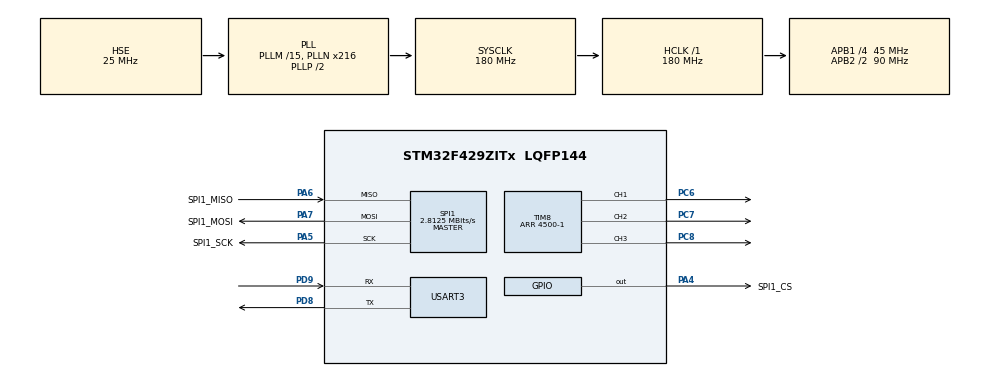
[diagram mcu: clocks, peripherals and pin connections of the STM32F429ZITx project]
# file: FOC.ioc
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FREERTOS.Tasks01=Task_Read_Encod,0,128,Run_Task_Read_Encoder,Default,NULL,Dynamic,NULL,NULL;Task_PWM,0,512,Run_Task_PWM,Default,NULL,Dynamic,NULL,NULL
FREERTOS.configUSE_NEWLIB_REENTRANT=1
Mcu.Family=STM32F4
Mcu.Name=STM32F429ZITx
Mcu.Package=LQFP144
NVIC.PriorityGroup=NVIC_PRIORITYGROUP_4
NVIC.TIM4_IRQn=true\:15\:0\:false\:false\:true\:false\:false\:true\:true
NVIC.TIM7_IRQn=true\:5\:0\:false\:true\:true\:1\:true\:true\:true\:true
NVIC.TimeBase=TIM4_IRQn
NVIC.TimeBaseIP=TIM4
NVIC.USART3_IRQn=true\:5\:0\:false\:false\:true\:true\:true\:true\:true
PA13.Mode=Serial_Wire
PA13.Signal=SYS_JTMS-SWDIO
PA14.Mode=Serial_Wire
PA14.Signal=SYS_JTCK-SWCLK
PA4.GPIO_Label=SPI1_CS
PA4.Signal=GPIO_Output
PA5.GPIO_Label=SPI1_SCK
PA5.Mode=Full_Duplex_Master
PA5.Signal=SPI1_SCK
PA6.GPIO_Label=SPI1_MISO
PA6.Mode=Full_Duplex_Master
PA6.Signal=SPI1_MISO
PA7.GPIO_Label=SPI1_MOSI
PA7.Mode=Full_Duplex_Master
PA7.Signal=SPI1_MOSI
PC14/OSC32_IN.Mode=LSE-External-Oscillator
PC14/OSC32_IN.Signal=RCC_OSC32_IN
PC15/OSC32_OUT.Mode=LSE-External-Oscillator
PC15/OSC32_OUT.Signal=RCC_OSC32_OUT
PC6.Signal=S_TIM8_CH1
PC7.Signal=S_TIM8_CH2
PC8.Signal=S_TIM8_CH3
PD8.Mode=Asynchronous
PD8.Signal=USART3_TX
PD9.Mode=Asynchronous
PD9.Signal=USART3_RX
PH0/OSC_IN.Mode=HSE-External-Clock-Source
PH0/OSC_IN.Signal=RCC_OSC_IN
PH1/OSC_OUT.Mode=HSE-External-Clock-Source
PH1/OSC_OUT.Signal=RCC_OSC_OUT
ProjectManager.HeapSize=0x200
ProjectManager.StackSize=0x400
ProjectManager.TargetToolchain=STM32CubeIDE
RCC.48MHZClocksFreq_Value=51428571.428571425
RCC.AHBFreq_Value=180000000
RCC.APB1CLKDivider=RCC_HCLK_DIV4
RCC.APB1Freq_Value=45000000
RCC.APB1TimFreq_Value=90000000
RCC.APB2CLKDivider=RCC_HCLK_DIV2
RCC.APB2Freq_Value=90000000
RCC.APB2TimFreq_Value=180000000
RCC.CortexFreq_Value=180000000
RCC.HCLKFreq_Value=180000000
RCC.HSE_VALUE=25000000
RCC.HSI_VALUE=16000000
RCC.PLLM=15
RCC.PLLMUL=RCC_PLL_MUL9
RCC.PLLN=216
RCC.PLLQ=7
RCC.PLLSourceVirtual=RCC_PLLSOURCE_HSE
RCC.PRESCALERUSB=RCC_USBCLKSOURCE_PLL_DIV1_5
RCC.SYSCLKFreq_VALUE=180000000
RCC.SYSCLKSource=RCC_SYSCLKSOURCE_PLLCLK
RCC.SYSCLKSourceVirtual=RCC_SYSCLKSOURCE_PLLCLK
RCC.USBFreq_Value=48000000
RCC.VCOOutputFreq_Value=360000000
SH.S_TIM8_CH1.0=TIM8_CH1,PWM Generation1 CH1
SH.S_TIM8_CH2.0=TIM8_CH2,PWM Generation2 CH2
SH.S_TIM8_CH3.0=TIM8_CH3,PWM Generation3 CH3
SPI1.BaudRatePrescaler=SPI_BAUDRATEPRESCALER_32
SPI1.CLKPhase=SPI_PHASE_2EDGE
SPI1.CalculateBaudRate=2.8125 MBits/s
SPI1.DataSize=SPI_DATASIZE_16BIT
SPI1.Direction=SPI_DIRECTION_2LINES
SPI1.Mode=SPI_MODE_MASTER
SPI1.VirtualType=VM_MASTER
TIM7.AutoReloadPreload=TIM_AUTORELOAD_PRELOAD_ENABLE
TIM7.Period=9000-1
TIM7.TIM_MasterOutputTrigger=TIM_TRGO_UPDATE
TIM8.AutoReloadPreload=TIM_AUTORELOAD_PRELOAD_ENABLE
TIM8.AutomaticOutput=TIM_AUTOMATICOUTPUT_DISABLE
TIM8.BreakState=TIM_BREAK_DISABLE
TIM8.Channel-PWM\ Generation1\ CH1=TIM_CHANNEL_1
TIM8.Channel-PWM\ Generation2\ CH2=TIM_CHANNEL_2
TIM8.Channel-PWM\ Generation3\ CH3=TIM_CHANNEL_3
TIM8.CounterMode=TIM_COUNTERMODE_CENTERALIGNED1
TIM8.LockLevel=TIM_LOCKLEVEL_OFF
TIM8.OffStateIDLEMode=TIM_OSSI_ENABLE
TIM8.OffStateRunMode=TIM_OSSR_ENABLE
TIM8.Period=4500-1
TIM8.RepetitionCounter=1
TIM8.TIM_MasterOutputTrigger=TIM_TRGO_UPDATE
TIM8.TIM_MasterSlaveMode=TIM_MASTERSLAVEMODE_DISABLE
USART3.VirtualMode=VM_ASYNC
VP_FREERTOS_VS_CMSIS_V1.Mode=CMSIS_V1
VP_SYS_VS_tim4.Mode=TIM4
VP_TIM7_VS_ClockSourceINT.Mode=Enable_Timer
VP_TIM8_VS_ClockSourceINT.Mode=Internal
board=NUCLEO-F429ZI

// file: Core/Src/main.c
/* USER CODE BEGIN Header */
/**
 ******************************************************************************
 * @file           : main.c
 * @brief          : Main program body
 ******************************************************************************
 * @attention
 *
 * Copyright (c) 2025 STMicroelectronics.
 * All rights reserved.
 *
 * This software is licensed under terms that can be found in the LICENSE file
 * in the root directory of this software component.
 * If no LICENSE file comes with this software, it is provided AS-IS.
 *
 ******************************************************************************
 */
/* USER CODE END Header */
#include "main.h"
#include "cmsis_os.h"

/* USER CODE BEGIN Includes */
#include "encoder.h"
#include "stdint.h"
#include "math.h"
#include "FOC.h"
/* USER CODE END Includes */

/* USER CODE BEGIN PTD */
#define PWM_PERIOD	9600U
#define PWM_CENTER	(PWM_PERIOD/2)
/* USER CODE END PTD */

SPI_HandleTypeDef hspi1;

TIM_HandleTypeDef htim7;
TIM_HandleTypeDef htim8;

UART_HandleTypeDef huart3;

osThreadId Task_Read_EncodHandle;
osThreadId Task_PWMHandle;
/* USER CODE BEGIN PV */
volatile float electrical_angle = 0.0f;   // rad, 0 ~ 2π
volatile float mechanical_angle = 0.0f;   // rad, tích lũy
volatile float velocity_rps = 0.0f;   // rad/s cơ khí
volatile int32_t total_degrees = 0;

float target_current_d = 0.0f;
float target_current_q = 2.0f;   // Ví dụ: điều khiển dòng q = 2A → torque
float Vd = 0.0f, Vq = 0.0f;
float Va, Vb, Vc;
float hsin;
float hcos;
uint16_t pulse = 2250;
/* USER CODE END PV */

void SystemClock_Config(void);
static void MX_GPIO_Init(void);
static void MX_USART3_UART_Init(void);
static void MX_SPI1_Init(void);
static void MX_TIM7_Init(void);
static void MX_TIM8_Init(void);
void Run_Task_Read_Encoder(void const *argument);
void Run_Task_PWM(void const *argument);

static void MX_NVIC_Init(void);

/* USER CODE BEGIN 0 */
void init() {
	encoder_init(&encoder_value, &as5048a, SPI1_CS_Pin, SPI1_CS_GPIO_Port,
			&hspi1);
	HAL_TIM_PWM_Start(&htim8, TIM_CHANNEL_1);
	HAL_TIMEx_PWMN_Start(&htim8, TIM_CHANNEL_1);
	HAL_TIM_PWM_Start(&htim8, TIM_CHANNEL_2);
	HAL_TIMEx_PWMN_Start(&htim8, TIM_CHANNEL_2);
	HAL_TIM_PWM_Start(&htim8, TIM_CHANNEL_3);
	HAL_TIMEx_PWMN_Start(&htim8, TIM_CHANNEL_3);
	HAL_TIM_Base_Start(&htim8);
//	HAL_TIM_Base_Start_IT(&htim7);  // <<< Quan trọng: bật ngắt mỗi chu kỳ PWM

//	__HAL_TIM_MOE_ENABLE(&htim8);
	TIM8->CCR1 = pulse / 2;
	TIM8->CCR2 = pulse / 3;
	TIM8->CCR3 = pulse / 4;
//	__HAL_TIM_ENABLE_IT(&htim1, TIM_IT_UPDATE); // Đảm bảo IT Update được enable
}
/* USER CODE END 0 */

int main(void) {

	/* MCU Configuration--------------------------------------------------------*/

	/* Reset of all peripherals, Initializes the Flash interface and the Systick. */
	HAL_Init();

	/* Configure the system clock */
	SystemClock_Config();

	/* Initialize all configured peripherals */
	MX_GPIO_Init();
	MX_USART3_UART_Init();
	MX_SPI1_Init();
	MX_TIM7_Init();
	MX_TIM8_Init();

	/* Initialize interrupts */
	MX_NVIC_Init();
	/* USER CODE BEGIN 2 */
	init();
	/* USER CODE END 2 */

	/* Create the thread(s) */
	/* definition and creation of Task_Read_Encod */
	osThreadDef(Task_Read_Encod, Run_Task_Read_Encoder, osPriorityNormal, 0,
			128);
	Task_Read_EncodHandle = osThreadCreate(osThread(Task_Read_Encod), NULL);

	/* definition and creation of Task_PWM */
	osThreadDef(Task_PWM, Run_Task_PWM, osPriorityNormal, 0, 512);
	Task_PWMHandle = osThreadCreate(osThread(Task_PWM), NULL);

	/* Start scheduler */
	osKernelStart();

	/* We should never get here as control is now taken by the scheduler */

	/* Infinite loop */
	while (1) {

	}
}

void SystemClock_Config(void) {
	RCC_OscInitTypeDef RCC_OscInitStruct = { 0 };
	RCC_ClkInitTypeDef RCC_ClkInitStruct = { 0 };

	/** Configure the main internal regulator output voltage
	 */
	__HAL_RCC_PWR_CLK_ENABLE();
	__HAL_PWR_VOLTAGESCALING_CONFIG(PWR_REGULATOR_VOLTAGE_SCALE1);

	/** Initializes the RCC Oscillators according to the specified parameters
	 * in the RCC_OscInitTypeDef structure.
	 */
	RCC_OscInitStruct.OscillatorType = RCC_OSCILLATORTYPE_HSE;
	RCC_OscInitStruct.HSEState = RCC_HSE_BYPASS;
	RCC_OscInitStruct.PLL.PLLState = RCC_PLL_ON;
	RCC_OscInitStruct.PLL.PLLSource = RCC_PLLSOURCE_HSE;
	RCC_OscInitStruct.PLL.PLLM = 15;
	RCC_OscInitStruct.PLL.PLLN = 216;
	RCC_OscInitStruct.PLL.PLLP = RCC_PLLP_DIV2;
	RCC_OscInitStruct.PLL.PLLQ = 7;
	if (HAL_RCC_OscConfig(&RCC_OscInitStruct) != HAL_OK) {
		Error_Handler();
	}

	/** Activate the Over-Drive mode
	 */
	if (HAL_PWREx_EnableOverDrive() != HAL_OK) {
		Error_Handler();
	}

	/** Initializes the CPU, AHB and APB buses clocks
	 */
	RCC_ClkInitStruct.ClockType = RCC_CLOCKTYPE_HCLK | RCC_CLOCKTYPE_SYSCLK
			| RCC_CLOCKTYPE_PCLK1 | RCC_CLOCKTYPE_PCLK2;
	RCC_ClkInitStruct.SYSCLKSource = RCC_SYSCLKSOURCE_PLLCLK;
	RCC_ClkInitStruct.AHBCLKDivider = RCC_SYSCLK_DIV1;
	RCC_ClkInitStruct.APB1CLKDivider = RCC_HCLK_DIV4;
	RCC_ClkInitStruct.APB2CLKDivider = RCC_HCLK_DIV2;

	if (HAL_RCC_ClockConfig(&RCC_ClkInitStruct, FLASH_LATENCY_5) != HAL_OK) {
		Error_Handler();
	}
}

/**
 * @brief NVIC Configuration.
 * @retval None
 */
static void MX_NVIC_Init(void) {
	/* TIM7_IRQn interrupt configuration */
	HAL_NVIC_SetPriority(TIM7_IRQn, 5, 0);
	HAL_NVIC_EnableIRQ(TIM7_IRQn);
}

static void MX_SPI1_Init(void) {

	/* SPI1 parameter configuration*/
	hspi1.Instance = SPI1;
	hspi1.Init.Mode = SPI_MODE_MASTER;
	hspi1.Init.Direction = SPI_DIRECTION_2LINES;
	hspi1.Init.DataSize = SPI_DATASIZE_16BIT;
	hspi1.Init.CLKPolarity = SPI_POLARITY_LOW;
	hspi1.Init.CLKPhase = SPI_PHASE_2EDGE;
	hspi1.Init.NSS = SPI_NSS_SOFT;
	hspi1.Init.BaudRatePrescaler = SPI_BAUDRATEPRESCALER_32;
	hspi1.Init.FirstBit = SPI_FIRSTBIT_MSB;
	hspi1.Init.TIMode = SPI_TIMODE_DISABLE;
	hspi1.Init.CRCCalculation = SPI_CRCCALCULATION_DISABLE;
	hspi1.Init.CRCPolynomial = 10;
	if (HAL_SPI_Init(&hspi1) != HAL_OK) {
		Error_Handler();
	}

}

static void MX_TIM7_Init(void) {

	TIM_MasterConfigTypeDef sMasterConfig = { 0 };

	/* USER CODE BEGIN TIM7_Init 1 */
	__HAL_RCC_TIM7_CLK_ENABLE();
	/* USER CODE END TIM7_Init 1 */
	htim7.Instance = TIM7;
	htim7.Init.Prescaler = 0;
	htim7.Init.CounterMode = TIM_COUNTERMODE_UP;
	htim7.Init.Period = 9000 - 1;
	htim7.Init.AutoReloadPreload = TIM_AUTORELOAD_PRELOAD_ENABLE;
	if (HAL_TIM_Base_Init(&htim7) != HAL_OK) {
		Error_Handler();
	}
	sMasterConfig.MasterOutputTrigger = TIM_TRGO_UPDATE;
	sMasterConfig.MasterSlaveMode = TIM_MASTERSLAVEMODE_DISABLE;
	if (HAL_TIMEx_MasterConfigSynchronization(&htim7, &sMasterConfig)
			!= HAL_OK) {
		Error_Handler();
	}

}

static void MX_TIM8_Init(void) {

	TIM_ClockConfigTypeDef sClockSourceConfig = { 0 };
	TIM_MasterConfigTypeDef sMasterConfig = { 0 };
	TIM_OC_InitTypeDef sConfigOC = { 0 };
	TIM_BreakDeadTimeConfigTypeDef sBreakDeadTimeConfig = { 0 };

	htim8.Instance = TIM8;
	htim8.Init.Prescaler = 0;
	htim8.Init.CounterMode = TIM_COUNTERMODE_CENTERALIGNED1;
	htim8.Init.Period = 4500 - 1;
	htim8.Init.ClockDivision = TIM_CLOCKDIVISION_DIV1;
	htim8.Init.RepetitionCounter = 1;
	htim8.Init.AutoReloadPreload = TIM_AUTORELOAD_PRELOAD_ENABLE;
	if (HAL_TIM_Base_Init(&htim8) != HAL_OK) {
		Error_Handler();
	}
	sClockSourceConfig.ClockSource = TIM_CLOCKSOURCE_INTERNAL;
	if (HAL_TIM_ConfigClockSource(&htim8, &sClockSourceConfig) != HAL_OK) {
		Error_Handler();
	}
	if (HAL_TIM_PWM_Init(&htim8) != HAL_OK) {
		Error_Handler();
	}
	sMasterConfig.MasterOutputTrigger = TIM_TRGO_UPDATE;
	sMasterConfig.MasterSlaveMode = TIM_MASTERSLAVEMODE_DISABLE;
	if (HAL_TIMEx_MasterConfigSynchronization(&htim8, &sMasterConfig)
			!= HAL_OK) {
		Error_Handler();
	}
	sConfigOC.OCMode = TIM_OCMODE_PWM1;
	sConfigOC.Pulse = 0;
	sConfigOC.OCPolarity = TIM_OCPOLARITY_HIGH;
	sConfigOC.OCNPolarity = TIM_OCNPOLARITY_HIGH;
	sConfigOC.OCFastMode = TIM_OCFAST_DISABLE;
	sConfigOC.OCIdleState = TIM_OCIDLESTATE_RESET;
	sConfigOC.OCNIdleState = TIM_OCNIDLESTATE_RESET;
	if (HAL_TIM_PWM_ConfigChannel(&htim8, &sConfigOC, TIM_CHANNEL_1)
			!= HAL_OK) {
		Error_Handler();
	}
	if (HAL_TIM_PWM_ConfigChannel(&htim8, &sConfigOC, TIM_CHANNEL_2)
			!= HAL_OK) {
		Error_Handler();
	}
	if (HAL_TIM_PWM_ConfigChannel(&htim8, &sConfigOC, TIM_CHANNEL_3)
			!= HAL_OK) {
		Error_Handler();
	}
	sBreakDeadTimeConfig.OffStateRunMode = TIM_OSSR_ENABLE;
	sBreakDeadTimeConfig.OffStateIDLEMode = TIM_OSSI_ENABLE;
	sBreakDeadTimeConfig.LockLevel = TIM_LOCKLEVEL_OFF;
	sBreakDeadTimeConfig.DeadTime = 0;
	sBreakDeadTimeConfig.BreakState = TIM_BREAK_DISABLE;
	sBreakDeadTimeConfig.BreakPolarity = TIM_BREAKPOLARITY_HIGH;
	sBreakDeadTimeConfig.AutomaticOutput = TIM_AUTOMATICOUTPUT_DISABLE;
	if (HAL_TIMEx_ConfigBreakDeadTime(&htim8, &sBreakDeadTimeConfig)
			!= HAL_OK) {
		Error_Handler();
	}
	/* USER CODE BEGIN TIM8_Init 2 */
	// Bật preload cho các channel
	TIM8->CCMR1 |= TIM_CCMR1_OC1PE | TIM_CCMR1_OC2PE;
	TIM8->CCMR2 |= TIM_CCMR2_OC3PE;

	// Đảm bảo ARR preload được bật
	TIM8->CR1 |= TIM_CR1_ARPE;
	/* USER CODE END TIM8_Init 2 */
	HAL_TIM_MspPostInit(&htim8);

}

static void MX_USART3_UART_Init(void) {

	huart3.Instance = USART3;
	huart3.Init.BaudRate = 115200;
	huart3.Init.WordLength = UART_WORDLENGTH_8B;
	huart3.Init.StopBits = UART_STOPBITS_1;
	huart3.Init.Parity = UART_PARITY_NONE;
	huart3.Init.Mode = UART_MODE_TX_RX;
	huart3.Init.HwFlowCtl = UART_HWCONTROL_NONE;
	huart3.Init.OverSampling = UART_OVERSAMPLING_16;
	if (HAL_UART_Init(&huart3) != HAL_OK) {
		Error_Handler();
	}

}

static void MX_GPIO_Init(void) {
	GPIO_InitTypeDef GPIO_InitStruct = { 0 };

	/* GPIO Ports Clock Enable */
	__HAL_RCC_GPIOC_CLK_ENABLE();
	__HAL_RCC_GPIOH_CLK_ENABLE();
	__HAL_RCC_GPIOA_CLK_ENABLE();
	__HAL_RCC_GPIOD_CLK_ENABLE();

	/*Configure GPIO pin Output Level */
	HAL_GPIO_WritePin(SPI1_CS_GPIO_Port, SPI1_CS_Pin, GPIO_PIN_RESET);

	/*Configure GPIO pin : SPI1_CS_Pin */
	GPIO_InitStruct.Pin = SPI1_CS_Pin;
	GPIO_InitStruct.Mode = GPIO_MODE_OUTPUT_PP;
	GPIO_InitStruct.Pull = GPIO_NOPULL;
	GPIO_InitStruct.Speed = GPIO_SPEED_FREQ_LOW;
	HAL_GPIO_Init(SPI1_CS_GPIO_Port, &GPIO_InitStruct);

}

void Run_Task_Read_Encoder(void const *argument) {
	/* USER CODE BEGIN 5 */
	/* Infinite loop */
	for (;;) {
//		encoder_update(&encoder_value);
////		hsin = LUT_Sin(encoder_value.current_raw_data);
////		hcos = LUT_Cos(encoder_value.current_raw_data);
		osDelay(10);
	}
	/* USER CODE END 5 */
}

void Run_Task_PWM(void const *argument) {
	/* USER CODE BEGIN Run_Task_PWM */
	/* Infinite loop */
	for (;;) {
//	  __HAL_TIM_SET_COMPARE(&htim1, TIM_CHANNEL_1, pulse);

//	  if(pulse = 8999)pulse=0;
		osDelay(1);
	}
	/* USER CODE END Run_Task_PWM */
}

void HAL_TIM_PeriodElapsedCallback(TIM_HandleTypeDef *htim) {
	if (htim->Instance == TIM4) {
		HAL_IncTick();
	}
	/* USER CODE BEGIN Callback 1 */
	if (htim->Instance == TIM7) {
		encoder_update(&encoder_value);
//		__HAL_TIM_SET_COMPARE(&htim8, TIM_CHANNEL_1, pulse / 2);
//		__HAL_TIM_SET_COMPARE(&htim8, TIM_CHANNEL_2, pulse / 3);
//		__HAL_TIM_SET_COMPARE(&htim8, TIM_CHANNEL_3, pulse / 4);

		// Set giá trị cố định để test
//	    TIM8->CCR1 = pulse / 2;
//	    TIM8->CCR2 = pulse / 3;
//	    TIM8->CCR3 = pulse / 4;
	}
	/* USER CODE END Callback 1 */
}

void Error_Handler(void) {
	__disable_irq();
	while (1) {
	}
}
